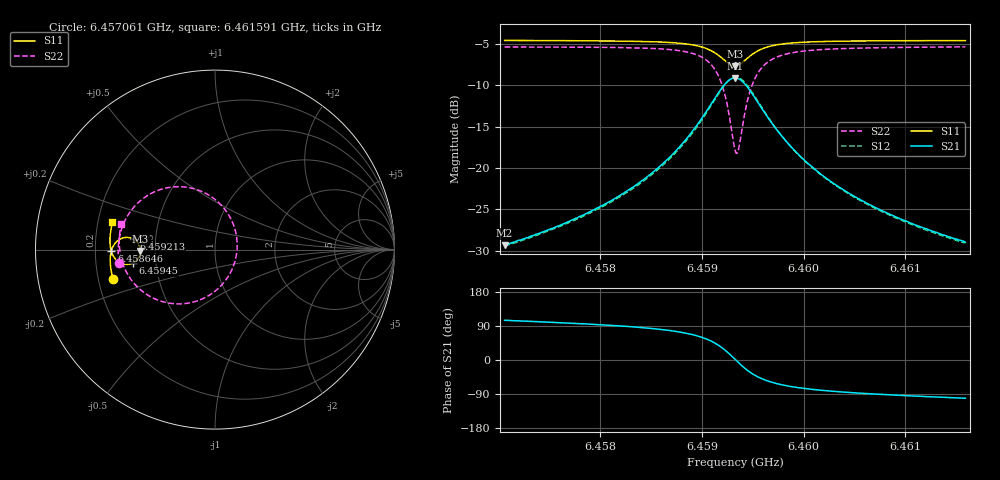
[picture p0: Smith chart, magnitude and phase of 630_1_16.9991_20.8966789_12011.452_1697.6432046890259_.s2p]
#  HZ  S  RI  R  50.00
! Rohde & Schwarz Vector Network Analyzer
! Rohde-Schwarz,ZNB20-2Port,1311601062101988,3.16
! Created: UTC 3/20/2024, 11:20:17 PM
! freq[Hz]  re:S11  im:S11  re:S21  im:S21  re:S12  im:S12  re:S22  im:S22
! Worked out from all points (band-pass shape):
!   401 points, 6.457061 GHz to 6.461591 GHz, reference 50 ohm
!   highest |S21| = -9.08 dB at 6.459326 GHz (marker M1); lowest = -29.3 dB at 6.457061 GHz (marker M2)
!   |S21| within 3 dB of the highest: 6.4591 GHz to 6.459553 GHz (453.2 kHz wide, 0.00702 % of centre)
!   lowest |S11| = -7.6 dB at 6.459326 GHz (marker M3), VSWR 2.42, Z = 20.7 - j0.367 ohm
!   |S11| at or under -10 dB: nowhere
!   |S22| runs from -18.2 to -5.3 dB; largest |S21 - S12| = 0.014
!   S11 on the Smith chart (normalised r, x): 6.457061 GHz: 0.26, -0.13; 6.458646 GHz: 0.27, -0.00; 6.459213 GHz: 0.38, +0.05; 6.45945 GHz: 0.37, -0.07; 6.461591 GHz: 0.26, +0.12
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6.4570607e9  -0.5684 -0.1656  -0.00869 0.033  -0.00677 0.033  -0.5349 -0.0769
6.4578195e9  -0.5816 -0.099  -0.00512 0.0514  -0.00256 0.0506  -0.5389 0.0133
6.4582272e9  -0.5841 -0.0579  0.00082 0.0703  0.00408 0.0689  -0.5303 0.0786
6.4585783e9  -0.5797 -0.0157  0.0155 0.1003  0.0194 0.0973  -0.5031 0.1587
6.4586463e9  -0.5774 -0.00611  0.021 0.1086  0.025 0.1054  -0.4928 0.1788
6.4588388e9  -0.5644 0.0243  0.0481 0.1399  0.0522 0.1348  -0.4414 0.2482
6.458986e9  -0.5413 0.0503  0.0943 0.1705  0.0974 0.1637  -0.3561 0.3127
6.4591219e9  -0.4968 0.0676  0.183 0.1866  0.1837 0.1792  -0.1939 0.3503
6.4592125e9  -0.4515 0.0569  0.2739 0.1545  0.2742 0.1486  -0.025 0.2978
6.4592805e9  -0.4222 0.0242  0.3349 0.081  0.3372 0.0758  0.0918 0.1651
6.4593258e9  -0.4154 -0.00735  0.3512 0.012  0.3551 0.00505  0.1236 0.0356
6.4593597e9  -0.4194 -0.0314  0.3451 -0.0413  0.3491 -0.0507  0.1113 -0.0659
6.4594051e9  -0.4354 -0.058  0.3156 -0.1022  0.3181 -0.1142  0.0517 -0.1809
6.4594504e9  -0.4577 -0.0746  0.2727 -0.1436  0.2719 -0.1572  -0.0357 -0.2567
6.459541e9  -0.5019 -0.0816  0.1861 -0.1748  0.1798 -0.1866  -0.2085 -0.3025
6.4596089e9  -0.5265 -0.0741  0.137 -0.1725  0.1287 -0.1816  -0.3036 -0.2866
6.4596882e9  -0.5463 -0.0609  0.0969 -0.1601  0.0881 -0.1664  -0.379 -0.2508
6.4598467e9  -0.5681 -0.0331  0.0515 -0.1313  0.0435 -0.1341  -0.4601 -0.1769
6.4600846e9  -0.5809 0.00238  0.022 -0.099  0.016 -0.0996  -0.5083 -0.0929
6.4604356e9  -0.5853 0.0446  0.00559 -0.0709  0.00162 -0.0704  -0.5299 -0.0108
6.4608434e9  -0.5834 0.0858  -0.0017 -0.0528  -0.0046 -0.0518  -0.5335 0.0554
6.4615908e9  -0.5712 0.1522  -0.00675 -0.035  -0.00856 -0.0342  -0.5219 0.1449
